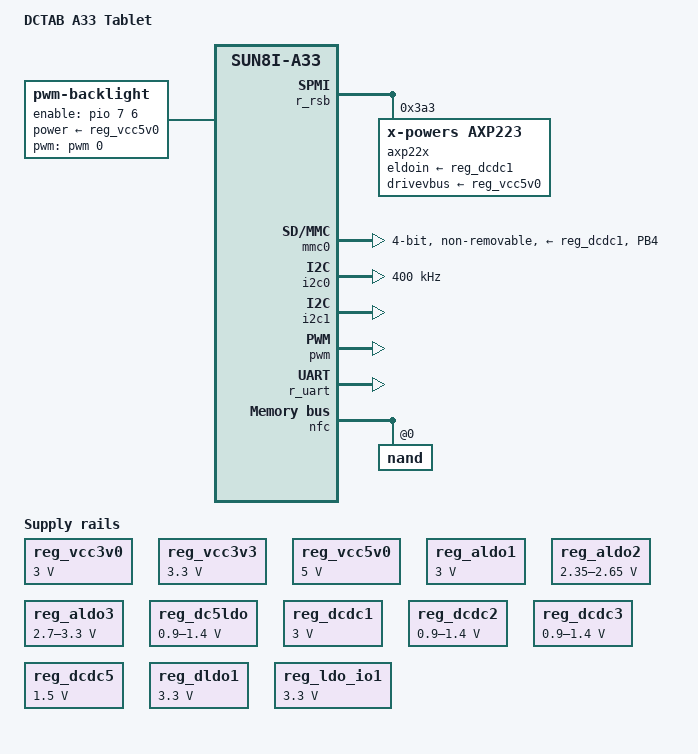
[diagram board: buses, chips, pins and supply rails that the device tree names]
/dts-v1/;

#include "sun8i-a33.dtsi"

#include <dt-bindings/gpio/gpio.h>
#include <dt-bindings/pinctrl/sun4i-a10.h>
#include <dt-bindings/pwm/pwm.h>

/ {
	model = "DCTAB A33 Tablet";
	compatible = "allwinner,dctab-a33", "allwinner,sun8i-a33";

	aliases {
		serial0 = &r_uart;
	};

	chosen {
		stdout-path = "serial0:115200n8";
	};

	reg_vcc3v0: vcc3v0 {
		compatible = "regulator-fixed";
		regulator-name = "vcc3v0";
		regulator-min-microvolt = <3000000>;
		regulator-max-microvolt = <3000000>;
	};

	reg_vcc3v3: vcc3v3 {
		compatible = "regulator-fixed";
		regulator-name = "vcc3v3";
		regulator-min-microvolt = <3300000>;
		regulator-max-microvolt = <3300000>;
	};

	reg_vcc5v0: vcc5v0 {
		compatible = "regulator-fixed";
		regulator-name = "vcc5v0";
		regulator-min-microvolt = <5000000>;
		regulator-max-microvolt = <5000000>;
	};

	backlight: backlight {
		compatible = "pwm-backlight";
		pwms = <&pwm 0 50000 PWM_POLARITY_INVERTED>;
		brightness-levels = <0 10 20 30 40 50 60 70 80 90 100>;
		default-brightness-level = <8>;
		power-supply = <&reg_vcc5v0>;
		pinctrl-names = "default";
		pinctrl-0 = <&bl_en_pin>;
		enable-gpios = <&pio 7 6 GPIO_ACTIVE_HIGH>; /* PH6 */
	};
};

&r_rsb {
	status = "okay";

	axp22x: pmic@3a3 {
		compatible = "x-powers,axp223";
		reg = <0x3a3>;
		interrupt-parent = <&nmi_intc>;
		interrupts = <0 IRQ_TYPE_LEVEL_LOW>;
		eldoin-supply = <&reg_dcdc1>;
		drivevbus-supply = <&reg_vcc5v0>;
		x-powers,drive-vbus-en;
	};
};

#include "axp223.dtsi"

&reg_aldo1 {
	regulator-always-on;
	regulator-min-microvolt = <3000000>;
	regulator-max-microvolt = <3000000>;
	regulator-name = "vcc-io";
};

&reg_aldo2 {
	regulator-always-on;
	regulator-min-microvolt = <2350000>;
	regulator-max-microvolt = <2650000>;
	regulator-name = "vdd-dll";
};

&reg_aldo3 {
	regulator-always-on;
	regulator-min-microvolt = <2700000>;
	regulator-max-microvolt = <3300000>;
	regulator-name = "vcc-pll-avcc";
};

&reg_dc1sw {
	regulator-name = "vcc-lcd";
};

&reg_dc5ldo {
	regulator-always-on;
	regulator-min-microvolt = <900000>;
	regulator-max-microvolt = <1400000>;
	regulator-name = "vdd-cpus";
};

&reg_dcdc1 {
	regulator-always-on;
	regulator-min-microvolt = <3000000>;
	regulator-max-microvolt = <3000000>;
	regulator-name = "vcc-3v0";
};

&reg_dcdc2 {
	regulator-always-on;
	regulator-min-microvolt = <900000>;
	regulator-max-microvolt = <1400000>;
	regulator-name = "vdd-sys";
};

&reg_dcdc3 {
	regulator-always-on;
	regulator-min-microvolt = <900000>;
	regulator-max-microvolt = <1400000>;
	regulator-name = "vdd-cpu";
};

&reg_dcdc5 {
	regulator-always-on;
	regulator-min-microvolt = <1500000>;
	regulator-max-microvolt = <1500000>;
	regulator-name = "vcc-dram";
};

&reg_dldo1 {
	regulator-min-microvolt = <3300000>;
	regulator-max-microvolt = <3300000>;
	regulator-name = "vcc-wifi";
};

&reg_ldo_io1 {
	regulator-min-microvolt = <3300000>;
	regulator-max-microvolt = <3300000>;
	regulator-name = "vcc-touchscreen";
	status = "okay";
};

&reg_rtc_ldo {
	regulator-name = "vcc-rtc";
};

&reg_drivevbus {
	regulator-name = "usb0-vbus";
	status = "okay";
};

&cpu0 {
	cpu-supply = <&reg_dcdc2>;
};

&simplefb_lcd {
	vcc-lcd-supply = <&reg_dc1sw>;
};

&pio {
	bl_en_pin: bl_en_pin@0 {
		pins = "PH6";
		function = "gpio_out";
	};

	mmc0_cd_pin: mmc0_cd_pin@0 {
		pins = "PB4";
		function = "gpio_in";
		allwinner,pull = <SUN4I_PINCTRL_PULL_UP>;
	};
};

&mmc0 {
	pinctrl-names = "default";
	pinctrl-0 = <&mmc0_pins_a>, <&mmc0_cd_pin>;
	vmmc-supply = <&reg_dcdc1>;
	bus-width = <4>;
	non-removable;
	status = "okay";
};

&i2c0 {
	pinctrl-names = "default";
	pinctrl-0 = <&i2c0_pins_a>;
	status = "okay";
	clock-frequency = <400000>;
};

&i2c1 {
	pinctrl-names = "default";
	pinctrl-0 = <&i2c1_pins_a>;
	status = "okay";
};

&pwm {
	pinctrl-names = "default";
	pinctrl-0 = <&pwm0_pins>;
	status = "okay";
};

&r_uart {
	pinctrl-names = "default";
	pinctrl-0 = <&r_uart_pins_a>;
	status = "okay";
};

&nfc {
   pinctrl-names = "default";
   pinctrl-0 = <&nand_pins_a &nand_cs0_pins_a &nand_rb0_pins_a>;
   status = "okay";

   nand@0 {
      #address-cells = <2>;
      #size-cells = <2>;
      reg = <0>;
      allwinner,rb = <0>;

      nand-ecc-mode = "hw";
      nand-on-flash-bbt;
   };
};

